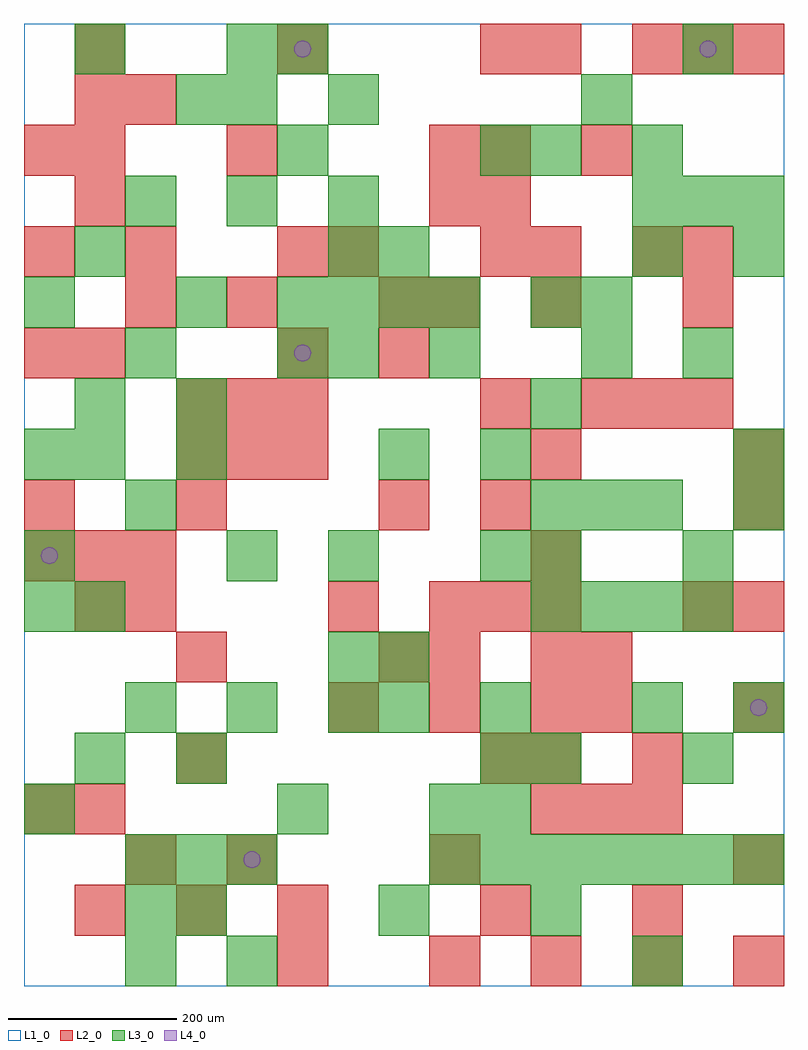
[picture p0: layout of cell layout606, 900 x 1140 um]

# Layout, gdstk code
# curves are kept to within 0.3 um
import gdstk
lib = gdstk.Library(unit=1e-6, precision=1e-09)
def R(c, l, rs):  # rectangles x0, y0, x1, y1
    for r in rs: c.add(gdstk.rectangle(r[:2], r[2:], *l))
def A(c, l, x, y, w, h, nx, ny, dx, dy):  # array of equal rectangles
    R(c, l, [(x+i*dx, y+j*dy, x+i*dx+w, y+j*dy+h) for i in range(nx) for j in range(ny)])
def P(c, l, *ps):  # polygons
    for p in ps: c.add(gdstk.Polygon(p, *l))
L1_0 = (1, 0)
L2_0 = (2, 0)
L3_0 = (3, 0)
L4_0 = (4, 0)

layout606 = lib.new_cell('layout606')
R(layout606, L1_0, [(0,0,900,1140)])
A(layout606, L2_0, 480, 0, 60, 60, 4, 1, 120, 0)
A(layout606, L2_0, 60, 60, 60, 60, 3, 1, 120, 0)
A(layout606, L2_0, 600, 180, 60, 60, 3, 1, 60, 0)
A(layout606, L2_0, 600, 240, 60, 60, 1, 4, 0, 120)
A(layout606, L2_0, 360, 300, 60, 60, 3, 1, 120, 0)
A(layout606, L2_0, 840, 300, 60, 60, 1, 3, 0, 120)
A(layout606, L2_0, 420, 360, 60, 60, 1, 3, 0, 180)
A(layout606, L2_0, 480, 420, 60, 60, 3, 1, 60, 0)
A(layout606, L2_0, 0, 480, 60, 60, 3, 1, 60, 0)
A(layout606, L2_0, 180, 600, 60, 60, 3, 2, 60, 60)
A(layout606, L2_0, 660, 660, 60, 60, 3, 1, 60, 0)
A(layout606, L2_0, 0, 720, 60, 60, 1, 3, 0, 120)
A(layout606, L2_0, 540, 840, 60, 60, 1, 3, 0, 60)
A(layout606, L2_0, 60, 900, 60, 60, 1, 3, 0, 60)
A(layout606, L2_0, 60, 1080, 60, 60, 3, 1, 240, 0)
A(layout606, L2_0, 720, 1080, 60, 60, 3, 1, 60, 0)
R(layout606, L2_0, [(300,0,360,60), (540,60,600,120), (720,60,780,120), (120,120,180,180), (240,120,300,180), (480,120,540,180), (840,120,900,180), (0,180,60,240), (60,180,120,240), (180,240,240,300), (540,240,600,300), (720,240,780,300), (660,300,720,360), (180,360,240,420), (480,360,540,420), (660,360,720,420), (60,420,120,480), (120,420,180,480), (360,420,420,480), (780,420,840,480), (0,540,60,600), (180,540,240,600), (540,540,600,600), (840,600,900,660), (540,660,600,720), (60,720,120,780), (300,720,360,780), (120,780,180,840), (240,780,300,840), (420,780,480,840), (480,780,540,840), (600,780,660,840), (780,780,840,840), (120,840,180,900), (300,840,360,900), (360,840,420,900), (600,840,660,900), (720,840,780,900), (780,840,840,900), (480,900,540,960), (240,960,300,1020), (480,960,540,1020), (660,960,720,1020), (120,1020,180,1080), (600,1080,660,1140)])
A(layout606, L3_0, 120, 120, 60, 60, 3, 1, 60, 0)
A(layout606, L3_0, 480, 120, 60, 60, 7, 1, 60, 0)
A(layout606, L3_0, 540, 180, 60, 60, 1, 3, 0, 60)
A(layout606, L3_0, 60, 240, 60, 60, 1, 3, 0, 180)
A(layout606, L3_0, 780, 240, 60, 60, 1, 3, 0, 240)
A(layout606, L3_0, 120, 300, 60, 60, 3, 2, 120, 600)
A(layout606, L3_0, 420, 360, 60, 60, 1, 3, 0, 240)
A(layout606, L3_0, 600, 420, 60, 60, 4, 1, 60, 0)
A(layout606, L3_0, 600, 540, 60, 60, 3, 1, 60, 0)
A(layout606, L3_0, 300, 780, 60, 60, 4, 1, 60, 0)
A(layout606, L3_0, 720, 900, 60, 60, 3, 1, 60, 0)
R(layout606, L3_0, [(120,0,180,60), (240,0,300,60), (720,0,780,60), (120,60,180,120), (180,60,240,120), (420,60,480,120), (600,60,660,120), (0,180,60,240), (300,180,360,240), (480,180,540,240), (180,240,240,300), (600,240,660,300), (420,300,480,360), (720,300,780,360), (840,300,900,360), (360,360,420,420), (0,420,60,480), (0,480,60,540), (240,480,300,540), (360,480,420,540), (540,480,600,540), (600,480,660,540), (120,540,180,600), (840,540,900,600), (0,600,60,660), (180,600,240,660), (540,600,600,660), (840,600,900,660), (60,660,120,720), (180,660,240,720), (600,660,660,720), (120,720,180,780), (300,720,360,780), (360,720,420,780), (480,720,540,780), (660,720,720,780), (0,780,60,840), (180,780,240,840), (600,780,660,840), (660,780,720,840), (60,840,120,900), (360,840,420,900), (720,840,780,900), (840,840,900,900), (300,960,360,1020), (540,960,600,1020), (600,960,660,1020), (720,960,780,1020), (180,1020,240,1080), (240,1020,300,1080), (360,1020,420,1080), (660,1020,720,1080), (60,1080,120,1140), (240,1080,300,1140), (300,1080,360,1140), (780,1080,840,1140)])
P(layout606, L4_0, [(40,510),(39.239,513.827),(37.071,517.071),(33.827,519.239),(30,520),(26.173,519.239),(22.929,517.071),(20.761,513.827),(20,510),(20.761,506.173),(22.929,502.929),(26.173,500.761),(30,500),(33.827,500.761),(37.071,502.929),(39.239,506.173)],
  [(280,150),(279.239,153.827),(277.071,157.071),(273.827,159.239),(270,160),(266.173,159.239),(262.929,157.071),(260.761,153.827),(260,150),(260.761,146.173),(262.929,142.929),(266.173,140.761),(270,140),(273.827,140.761),(277.071,142.929),(279.239,146.173)],
  [(340,750),(339.239,753.827),(337.071,757.071),(333.827,759.239),(330,760),(326.173,759.239),(322.929,757.071),(320.761,753.827),(320,750),(320.761,746.173),(322.929,742.929),(326.173,740.761),(330,740),(333.827,740.761),(337.071,742.929),(339.239,746.173)],
  [(340,1110),(339.239,1113.827),(337.071,1117.071),(333.827,1119.239),(330,1120),(326.173,1119.239),(322.929,1117.071),(320.761,1113.827),(320,1110),(320.761,1106.173),(322.929,1102.929),(326.173,1100.761),(330,1100),(333.827,1100.761),(337.071,1102.929),(339.239,1106.173)],
  [(820,1110),(819.239,1113.827),(817.071,1117.071),(813.827,1119.239),(810,1120),(806.173,1119.239),(802.929,1117.071),(800.761,1113.827),(800,1110),(800.761,1106.173),(802.929,1102.929),(806.173,1100.761),(810,1100),(813.827,1100.761),(817.071,1102.929),(819.239,1106.173)],
  [(880,330),(879.239,333.827),(877.071,337.071),(873.827,339.239),(870,340),(866.173,339.239),(862.929,337.071),(860.761,333.827),(860,330),(860.761,326.173),(862.929,322.929),(866.173,320.761),(870,320),(873.827,320.761),(877.071,322.929),(879.239,326.173)])

lib.write_gds('layout606.gds')
